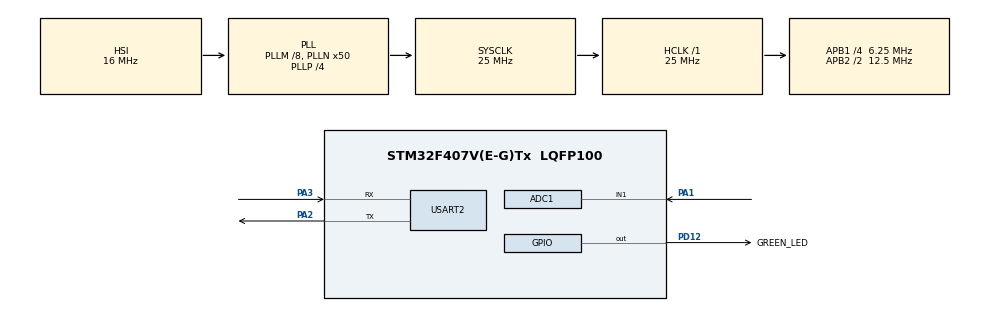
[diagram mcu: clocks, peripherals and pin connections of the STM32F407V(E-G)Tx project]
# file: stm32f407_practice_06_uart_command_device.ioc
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ADC1.Channel-2\#ChannelRegularConversion=ADC_CHANNEL_1
ADC1.NbrOfConversionFlag=1
ADC1.Rank-2\#ChannelRegularConversion=1
ADC1.SamplingTime-2\#ChannelRegularConversion=ADC_SAMPLETIME_3CYCLES
ADC1.master=1
Mcu.Family=STM32F4
Mcu.Name=STM32F407V(E-G)Tx
Mcu.Package=LQFP100
NVIC.PriorityGroup=NVIC_PRIORITYGROUP_0
NVIC.USART2_IRQn=true\:0\:0\:false\:false\:true\:true\:true\:true
PA1.Signal=ADCx_IN1
PA2.Mode=Asynchronous
PA2.Signal=USART2_TX
PA3.Mode=Asynchronous
PA3.Signal=USART2_RX
PD12.GPIO_Label=GREEN_LED
PD12.Signal=GPIO_Output
ProjectManager.HeapSize=0x200
ProjectManager.StackSize=0x400
ProjectManager.TargetToolchain=STM32CubeIDE
RCC.48MHZClocksFreq_Value=14285714.285714285
RCC.AHBFreq_Value=25000000
RCC.APB1CLKDivider=RCC_HCLK_DIV4
RCC.APB1Freq_Value=6250000
RCC.APB1TimFreq_Value=12500000
RCC.APB2CLKDivider=RCC_HCLK_DIV2
RCC.APB2Freq_Value=12500000
RCC.APB2TimFreq_Value=25000000
RCC.CortexFreq_Value=25000000
RCC.HCLKFreq_Value=25000000
RCC.HSE_VALUE=8000000
RCC.HSI_VALUE=16000000
RCC.LSE_VALUE=32768
RCC.PLLM=8
RCC.PLLN=50
RCC.PLLP=RCC_PLLP_DIV4
RCC.PLLQ=7
RCC.SYSCLKFreq_VALUE=25000000
RCC.SYSCLKSource=RCC_SYSCLKSOURCE_PLLCLK
RCC.VCOOutputFreq_Value=100000000
SH.ADCx_IN1.0=ADC1_IN1,IN1
USART2.VirtualMode=VM_ASYNC
board=STM32F407G-DISC1

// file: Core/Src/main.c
/* USER CODE BEGIN Header */
/**
  ******************************************************************************
  * @file           : main.c
  * @brief          : Main program body
  ******************************************************************************
  * @attention
  *
  * Copyright (c) 2026 STMicroelectronics.
  * All rights reserved.
  *
  * This software is licensed under terms that can be found in the LICENSE file
  * in the root directory of this software component.
  * If no LICENSE file comes with this software, it is provided AS-IS.
  *
  ******************************************************************************
  */
/* USER CODE END Header */
#include "main.h"
#include "adc.h"
#include "usart.h"
#include "gpio.h"

/* USER CODE BEGIN Includes */

#include <stdio.h>
#include <string.h>
#include <stdbool.h>

/* USER CODE END Includes */

/* USER CODE BEGIN PTD */

typedef enum
{
	PARSER_WAIT_START,
	PARSER_READ_COMMAND,
	PARSER_READ_LENGTH,
	PARSER_READ_PAYLOAD,
	PARSER_READ_CALC_CHECKSUM,
	PARSER_HANDLER,
	PARSER_ERROR
}Parser_t;

typedef enum
{
	NO_ERROR 				= 0x00,
	INVALID_COMMAND_ERROR	= 0x01,
	LENGTH_OVERFLOW_ERROR	= 0x02,
	INVALID_LENGTH_ERROR	= 0x03,
	INVALID_PAYLOAD_ERROR	= 0x04,
	CHECKSUM_ERROR			= 0x05,
	ADC_READ_ERROR			= 0x06,
	TIMEOUT_ERROR			= 0x07,
	SET_LED_WRITE_ERROR		= 0x08
}ErrorMode_t;

typedef enum
{
	COMMAND_WAIT			= 0x00,
	COMMAND_PING			= 0x01,
	COMMAND_SET_LED			= 0x02,
	COMMAND_GET_LED			= 0x03,
	COMMAND_GET_ADC			= 0x04
}CommandMode_t;

/* USER CODE END PTD */

/* USER CODE BEGIN PD */

/* If you want to run in debug mode, set the OPERATING_MODE value to 1; if you want to run in normal mode, set the OPERATING_MODE value to 0. */

#define OPERATING_MODE	0

#define PAYLOAD_SIZE 	3U
#define ADC_SUM_COUNT 	10U
#define TIMEOUT_TIME 	5000U

/* USER CODE END PD */

/* USER CODE BEGIN PV */

static uint32_t timeout_count = 0U;

static uint8_t rx_byte = 0U;
volatile static bool rx_byte_ready = false;

static uint8_t rx_command = 0U;
static uint8_t rx_length = 0U;
static uint8_t rx_payload[PAYLOAD_SIZE];
static uint8_t payload_index = 0U;
static uint8_t rx_checksum = 0U;

static uint8_t available_commands[] = {0x01U, 0x02U, 0x03U, 0x04U};
static uint8_t command_length = 0U;
static uint8_t command_payload_1_max = 0U;
static uint8_t command_payload_1_min = 0U;
static uint16_t check = 0U;

static uint8_t command_value[PAYLOAD_SIZE];

static uint8_t response_length = 0U;

const uint8_t commands_size = (sizeof(available_commands) / sizeof(available_commands[0]));

static Parser_t parser_state = PARSER_WAIT_START;
static ErrorMode_t error_state = NO_ERROR;
static CommandMode_t command_state = COMMAND_WAIT;

/* USER CODE END PV */

void SystemClock_Config(void);
/* USER CODE BEGIN PFP */

void uart_send(char* text);
void resetState(void);
void send_packet(void);

/* USER CODE END PFP */

/* USER CODE BEGIN 0 */
void command_msg(void)
{
	uart_send("START_PACKET\r\n");
	uart_send("\r\n--- AVAILABLE COMMANDS ---\r\n");
	uart_send("0x01 : PING COMMAND\r\n");
	uart_send("0x02 : SET_LED COMMAND\r\n");
	uart_send("0x03 : GET_LED COMMAND\r\n");
	uart_send("0x04 : GET_ADC COMMAND\r\n");
	uart_send("--------------------------\r\n\r\n");
}
void uart_send(char* text)
{
	HAL_UART_Transmit(&huart2, (uint8_t* )text, strlen(text), HAL_MAX_DELAY);
}

void uart_send_uint16(uint16_t byte)
{
	char send_msg[12];

	uint8_t len = sprintf(send_msg, "%d", byte);

	HAL_UART_Transmit(&huart2, (uint8_t* )send_msg, len, HAL_MAX_DELAY);
}

void uart_send_hex(uint8_t byte)
{
	char send_msg[12];

	uint8_t len = sprintf(send_msg, "0x%02X ", byte);

	HAL_UART_Transmit(&huart2, (uint8_t* )send_msg, len, HAL_MAX_DELAY);
}

void uart_hex(uint8_t hex[], uint8_t size)
{
	HAL_UART_Transmit(&huart2, (uint8_t* )hex, size, HAL_MAX_DELAY);
}

void payload_recorder(uint8_t byte)
{
	rx_payload[payload_index] = byte;
	payload_index++;
}

uint8_t calc_checksum()
{
	uint8_t sum = 0U;

		sum = rx_command ^ rx_length;
		for(uint8_t i = 0; i < rx_length; i++)
		{
			sum = sum ^ rx_payload[i];
		}

	return sum;
}

bool adc_value_check(void)
{
	uint32_t raw_sum = 0U;
	uint8_t sum_count = 0U;

	for (uint8_t i = 0U; i < ADC_SUM_COUNT; i++)
	{
		HAL_ADC_Start(&hadc1);

		if (HAL_ADC_PollForConversion(&hadc1, 10) == HAL_OK)
		{
			raw_sum += HAL_ADC_GetValue(&hadc1);
			sum_count++;
		}

		HAL_ADC_Stop(&hadc1);
	}

	if (sum_count != 0)
	{
		uint16_t raw = (uint16_t)(raw_sum/(uint32_t)sum_count);
		check = raw;

		command_value[0] = (uint8_t)((0xFF00 & raw) >> 8);
		command_value[1] = (uint8_t)(0x00FF & raw);

		return true;
	}

	else
	{
		return false;
	}

}

void SuccessHandler(void)
{
	uart_send("\r\nRX_COMMAND:");
	uart_send_hex(rx_command);
	uart_send("\r\nRX_LENGTH:");
	uart_send_hex(rx_length);
	uart_send("\r\nRX_PAYLOAD:");

	if (rx_length == 0x00U)
	{
		uart_send("NO_PAYLOAD");
	}
	else
	{
		for (uint8_t i = 0U; i < rx_length; i++)
		{
			uart_send_hex(rx_payload[i]);
		}
	}

	uart_send("\r\nRX_CHECKSUM:");
	uart_send_hex(rx_checksum);
	uart_send("\r\nRESULT:OK\r\nRESPONSE:");

	switch(command_state)
	{
	case COMMAND_PING:
		uart_send("PONG\r\n");
		break;

	case COMMAND_SET_LED:
		uart_send("LED ");
		if(rx_payload[0] == 0x00)
		{
			HAL_GPIO_WritePin(GREEN_LED_GPIO_Port, GREEN_LED_Pin, GPIO_PIN_RESET);
			uart_send("OFF\r\n");
		}
		else
		{
			HAL_GPIO_WritePin(GREEN_LED_GPIO_Port, GREEN_LED_Pin, GPIO_PIN_SET);
			uart_send("ON\r\n");
		}
		break;

	case COMMAND_GET_LED:
		uart_send("LED_STATUS_");
		command_value[0] = HAL_GPIO_ReadPin(GREEN_LED_GPIO_Port, GREEN_LED_Pin);
		if (command_value[0])
		{
			uart_send("ON\r\n");
		}
		else
		{
			uart_send("OFF\r\n");
		}
		break;

	case COMMAND_GET_ADC:
		uart_send("ADC_RAW:");
		uart_send_uint16(check);
		uart_send("\r\n");
		break;

	default:
		break;
	}
}

bool command_details_check(void)
{
	bool pass = true;

	if(pass && rx_length != command_length)
	{
		parser_state = PARSER_ERROR;
		error_state = INVALID_LENGTH_ERROR;
		pass = false;
	}

	if(pass)
	{
		for (uint8_t i = 0; i < rx_length; i++)
		{
			if (rx_payload[i] < command_payload_1_min || rx_payload[i] > command_payload_1_max)
			{
				parser_state = PARSER_ERROR;
				error_state = INVALID_PAYLOAD_ERROR;
				pass = false;
			}
		}
	}

	return pass;
}

void FailHandler(void)
{
	uart_send("\r\nRESULT:ERROR\r\nERROR:");
	if(parser_state == PARSER_ERROR && error_state == INVALID_COMMAND_ERROR)
	{
		uart_send("INVALID_COMMAND_ERROR\r\n");
	}
	else if(parser_state == PARSER_ERROR && error_state == INVALID_LENGTH_ERROR)
	{
		uart_send("INVALID_LENGTH_ERROR\r\n");
	}

	else if(parser_state == PARSER_ERROR && error_state == LENGTH_OVERFLOW_ERROR)
	{
		uart_send("LENGTH_OVERFLOW_ERROR\r\n");
	}

	else if(parser_state == PARSER_ERROR && error_state == INVALID_PAYLOAD_ERROR)
	{
		uart_send("INVALID_PAYLOAD_ERROR\r\n");
	}

	else if (parser_state == PARSER_ERROR && error_state == CHECKSUM_ERROR)
	{
		uart_send("CHECKSUM_ERROR\r\n");
	}

	else if (parser_state == PARSER_ERROR && error_state == TIMEOUT_ERROR)
	{
		uart_send("TIMEOUT_ERROR\r\n");
	}
	else if (parser_state == PARSER_ERROR && error_state == SET_LED_WRITE_ERROR)
	{
		uart_send("SET_LED_WRITE_ERROR\r\n");
	}
	else if (parser_state == PARSER_ERROR && error_state == ADC_READ_ERROR)
	{
		uart_send("ADC_READ_ERROR\r\n");
	}

	resetState();
}

bool WorkflowManager(void)
{
	bool workflow_pass = true;
	uint8_t checksum = 0U;

	command_length = 0U;
	command_payload_1_max = 0U;
	command_payload_1_min = 0U;
	response_length = 0U;
	command_state = COMMAND_WAIT;

	if (rx_length > PAYLOAD_SIZE)
	{
		parser_state = PARSER_ERROR;
		error_state = LENGTH_OVERFLOW_ERROR;
		workflow_pass = false;
	}

	if (workflow_pass)
	{
		checksum = calc_checksum();

		if (checksum != rx_checksum)
		{
			parser_state = PARSER_ERROR;
			error_state = CHECKSUM_ERROR;
			workflow_pass = false;
		}
	}

	for (uint8_t i = 0; i < commands_size; i++)
	{
		if (rx_command == available_commands[i])
		{
			command_state = rx_command;
		}
	}

	if(workflow_pass && command_state == COMMAND_WAIT)
	{
		parser_state = PARSER_ERROR;
		error_state = INVALID_COMMAND_ERROR;
		workflow_pass = false;
	}

	if (workflow_pass)
	{
		if (command_state == 0x01)
		{
			command_length = 0x00U;
			command_payload_1_max = 0x01U;
			command_payload_1_min = 0x00U;
			response_length = 0x01U;
			workflow_pass = command_details_check();

			if(workflow_pass)
			{
				command_value[0] = 0x01U;
			}
			else
			{
				response_length = 0x00U;
			}
		}

		else if (command_state == 0x02)
		{
			command_length = 0x01U;
			command_payload_1_max = 0x01U;
			command_payload_1_min = 0x00U;
			response_length = 0x01U;
			workflow_pass = command_details_check();
			if(workflow_pass)
			{
				if(rx_payload[0] == 0x00)
				{
					HAL_GPIO_WritePin(GREEN_LED_GPIO_Port, GREEN_LED_Pin, GPIO_PIN_RESET);
					if (HAL_GPIO_ReadPin(GREEN_LED_GPIO_Port, GREEN_LED_Pin) == GPIO_PIN_RESET)
					{
						command_value[0] = HAL_GPIO_ReadPin(GREEN_LED_GPIO_Port, GREEN_LED_Pin);
					}
					else
					{
						parser_state = PARSER_ERROR;
						error_state = SET_LED_WRITE_ERROR;
						response_length = 0x00U;
						workflow_pass = false;
					}
				}
				else
				{
					HAL_GPIO_WritePin(GREEN_LED_GPIO_Port, GREEN_LED_Pin, GPIO_PIN_SET);
					if (HAL_GPIO_ReadPin(GREEN_LED_GPIO_Port, GREEN_LED_Pin) == GPIO_PIN_SET)
					{
						command_value[0] = HAL_GPIO_ReadPin(GREEN_LED_GPIO_Port, GREEN_LED_Pin);
					}
					else
					{
						parser_state = PARSER_ERROR;
						error_state = SET_LED_WRITE_ERROR;
						response_length = 0x00U;
						workflow_pass = false;
					}
				}
			}
			else
			{
				response_length = 0x00U;
			}
		}

		else if (command_state == 0x03)
		{
			command_length = 0x00U;
			command_payload_1_max = 0U;
			command_payload_1_min = 0U;
			response_length = 0x01U;
			workflow_pass = command_details_check();
			if(workflow_pass)
			{
				command_value[0] = HAL_GPIO_ReadPin(GREEN_LED_GPIO_Port, GREEN_LED_Pin);
			}
			else
			{
				response_length = 0x00U;
				workflow_pass = false;
			}

		}

		else if (command_state == 0x04)
		{
			command_length = 0x00U;
			command_payload_1_max = 0U;
			command_payload_1_min = 0U;
			response_length = 0x02U;
			workflow_pass = command_details_check();
			if(workflow_pass)
			{
				workflow_pass = adc_value_check();
				if(workflow_pass == false)
				{
					parser_state = PARSER_ERROR;
					error_state = ADC_READ_ERROR;
					response_length = 0x00U;
				}
			}
			else
			{
				response_length = 0x00U;
			}
		}
	}

	return workflow_pass;
}

void parserDataPipeline(uint8_t byte)
{
	switch(parser_state)
		{
		case PARSER_WAIT_START:
			if (byte == 0xAAU)
			{
				parser_state = PARSER_READ_COMMAND;
				if(OPERATING_MODE)
				{
					uart_send("AA\r\n");
					command_msg();
					uart_send("[STATUS: AWAITING_COMMAND] Please enter a valid command:");
				}
				timeout_count = HAL_GetTick();
			}
			break;

		case PARSER_READ_COMMAND:
			rx_command = byte;
			parser_state = PARSER_READ_LENGTH;
			if(OPERATING_MODE)
			{
				uart_send_hex(rx_command);
				uart_send("\r\n[STATUS: AWAITING_LENGTH] Please enter the payload length (in bytes):");
			}
			timeout_count = HAL_GetTick();
			break;

		case PARSER_READ_LENGTH:
			rx_length = byte;
			if(OPERATING_MODE)
			{
				uart_send_hex(rx_length);
			}
			if (rx_length == 0x00U)
			{
				parser_state = PARSER_READ_CALC_CHECKSUM;
				if(OPERATING_MODE)
				{
					uart_send("\r\n[STATUS: AWAITING_CHECKSUM] Please enter the checksum value for verification:");
				}
			}
			else if(rx_length <= PAYLOAD_SIZE)
			{
				parser_state = PARSER_READ_PAYLOAD;
				if(OPERATING_MODE)
				{
					uart_send("\r\n[STATUS: AWAITING_PAYLOAD] Please enter the hex data payload:");
				}
			}
			else
			{
				parser_state = PARSER_ERROR;
			}
			timeout_count = HAL_GetTick();
			break;

		case PARSER_READ_PAYLOAD:
			payload_recorder(byte);
			if(OPERATING_MODE)
			{
				uart_send_hex(byte);
			}
			if(payload_index >= rx_length)
			{
				parser_state = PARSER_READ_CALC_CHECKSUM;
				if(OPERATING_MODE)
				{
					uart_send("\r\n[STATUS: AWAITING_CHECKSUM] Please enter the checksum value for verification:");
				}
			}
			timeout_count = HAL_GetTick();
			break;

		case PARSER_READ_CALC_CHECKSUM:
			rx_checksum = byte;
			if(OPERATING_MODE)
			{
				uart_send_hex(rx_checksum);
				uart_send("\r\n");
			}
			parser_state = PARSER_HANDLER;
			break;

		default:
			break;
		}
}

uint8_t calc_checksum_response(uint8_t data[], uint8_t size)
{
	uint8_t sum = 0x00U;

	for (uint8_t i = 1; i < size; i++)
	{
		sum ^= data[i];
	}

	return sum;
}

void send_packet(void)
{
	uint8_t response_pkt[10];
	uint8_t response_index = 0U;

	if(error_state != NO_ERROR)
	{
		response_length = 0x00U;
	}

	response_pkt[response_index] = 0xAA;
	response_index++;
	response_pkt[response_index] = rx_command;
	response_index++;
	response_pkt[response_index] = error_state;
	response_index++;
	response_pkt[response_index] = response_length;
	response_index++;

	for(uint8_t i = 0; i < response_length; i++)
	{
		response_pkt[response_index] = command_value[i];
		response_index++;
	}

	response_pkt[response_index] = calc_checksum_response(response_pkt, response_index);
	response_index++;

	uart_hex(response_pkt, response_index);
}

void resetState(void)
{
	rx_command = 0U;
	rx_length = 0U;
	payload_index = 0U;
	for (uint8_t i = 0; i < PAYLOAD_SIZE; i++)
	{
		rx_payload[i] = '\0';
	}
	rx_checksum = 0U;

	for(uint8_t i = 0; i < PAYLOAD_SIZE; i++)
	{
		command_value[i] = 0x00U;
	}
	command_length = 0U;
	command_payload_1_max = 0U;
	command_payload_1_min = 0U;
	response_length = 0U;

	parser_state = PARSER_WAIT_START;
	error_state = NO_ERROR;
	command_state = COMMAND_WAIT;
}
/* USER CODE END 0 */

int main(void)
{

  /* MCU Configuration--------------------------------------------------------*/

  /* Reset of all peripherals, Initializes the Flash interface and the Systick. */
  HAL_Init();

  /* Configure the system clock */
  SystemClock_Config();

  /* Initialize all configured peripherals */
  MX_GPIO_Init();
  MX_USART2_UART_Init();
  MX_ADC1_Init();
  /* USER CODE BEGIN 2 */

  if(OPERATING_MODE)
  {
	  char boot_msg[] = "/----BOOT_OK----/\r\n";
	  char boot_msg_head[] = "\r\n\r\n/---------------/\r\n";
	  uart_send(boot_msg_head);
	  uart_send(boot_msg);
	  uart_send("\r\n[STATUS: AWAITING_START] Please enter 'AA' to initiate the packet:");
  }

  if (HAL_UART_Receive_IT(&huart2, &rx_byte, 1U) != HAL_OK)
  {
	  Error_Handler();
  }

bool success = false;
bool start_msg_is = false;

  /* USER CODE END 2 */

  /* Infinite loop */
  while (1)
  {

    /* USER CODE BEGIN 3 */

	  if(OPERATING_MODE)
	  {
		  if (start_msg_is)
		  {
			  uart_send("\r\n\r\n[STATUS: AWAITING_START] Please enter 'AA' to initiate the packet:");
			  start_msg_is = false;
		  }
	  }

	  if(parser_state != PARSER_WAIT_START && (HAL_GetTick() - timeout_count) >= TIMEOUT_TIME)
	  {
		  parser_state = PARSER_ERROR;
		  error_state = TIMEOUT_ERROR;

		  if(OPERATING_MODE)
		  {
			  FailHandler();
		  }
		  else
		  {
			  send_packet();
			  resetState();
		  }
		  start_msg_is = true;
	  }

	  if (rx_byte_ready == true)
	  {
		  parserDataPipeline(rx_byte);

		  if(parser_state == PARSER_HANDLER || parser_state == PARSER_ERROR)
		  {
			  success = WorkflowManager();

			  if(OPERATING_MODE)
			  {
				  if (success == true)
				  {
					  SuccessHandler();
					  resetState();
				  }
				  else
				  {
					  FailHandler();
					  resetState();
				  }

			  }
			  else
			  {
				  send_packet();
				  resetState();
			  }
			  start_msg_is = true;
		  }

		  rx_byte_ready = false;

		  if (HAL_UART_Receive_IT(&huart2, &rx_byte, 1U) != HAL_OK)
		  {
			  Error_Handler();
		  }
	  }

    /* USER CODE BEGIN 3 */
  }
  /* USER CODE END 3 */
}

void SystemClock_Config(void)
{
  RCC_OscInitTypeDef RCC_OscInitStruct = {0};
  RCC_ClkInitTypeDef RCC_ClkInitStruct = {0};

  /** Configure the main internal regulator output voltage
  */
  __HAL_RCC_PWR_CLK_ENABLE();
  __HAL_PWR_VOLTAGESCALING_CONFIG(PWR_REGULATOR_VOLTAGE_SCALE1);

  /** Initializes the RCC Oscillators according to the specified parameters
  * in the RCC_OscInitTypeDef structure.
  */
  RCC_OscInitStruct.OscillatorType = RCC_OSCILLATORTYPE_HSI;
  RCC_OscInitStruct.HSIState = RCC_HSI_ON;
  RCC_OscInitStruct.HSICalibrationValue = RCC_HSICALIBRATION_DEFAULT;
  RCC_OscInitStruct.PLL.PLLState = RCC_PLL_ON;
  RCC_OscInitStruct.PLL.PLLSource = RCC_PLLSOURCE_HSI;
  RCC_OscInitStruct.PLL.PLLM = 8;
  RCC_OscInitStruct.PLL.PLLN = 50;
  RCC_OscInitStruct.PLL.PLLP = RCC_PLLP_DIV4;
  RCC_OscInitStruct.PLL.PLLQ = 7;
  if (HAL_RCC_OscConfig(&RCC_OscInitStruct) != HAL_OK)
  {
    Error_Handler();
  }

  /** Initializes the CPU, AHB and APB buses clocks
  */
  RCC_ClkInitStruct.ClockType = RCC_CLOCKTYPE_HCLK|RCC_CLOCKTYPE_SYSCLK
                              |RCC_CLOCKTYPE_PCLK1|RCC_CLOCKTYPE_PCLK2;
  RCC_ClkInitStruct.SYSCLKSource = RCC_SYSCLKSOURCE_PLLCLK;
  RCC_ClkInitStruct.AHBCLKDivider = RCC_SYSCLK_DIV1;
  RCC_ClkInitStruct.APB1CLKDivider = RCC_HCLK_DIV4;
  RCC_ClkInitStruct.APB2CLKDivider = RCC_HCLK_DIV2;

  if (HAL_RCC_ClockConfig(&RCC_ClkInitStruct, FLASH_LATENCY_0) != HAL_OK)
  {
    Error_Handler();
  }
}

/* USER CODE BEGIN 4 */

void HAL_UART_RxCpltCallback(UART_HandleTypeDef *huart)
{
	if (huart->Instance == USART2)
	{
		rx_byte_ready = true;
	}
}
/* USER CODE END 4 */

void Error_Handler(void)
{
  __disable_irq();
  while (1)
  {
  }
}
